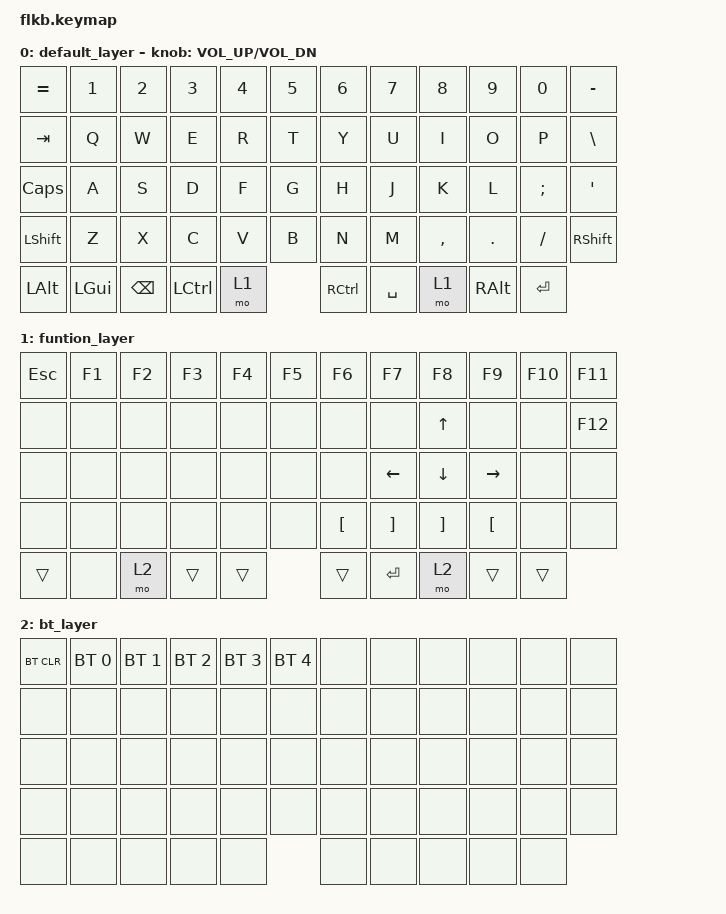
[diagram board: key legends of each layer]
/*
 * Copyright (c) 2020 The ZMK Contributors
 *
 * SPDX-License-Identifier: MIT
 */

#include <behaviors.dtsi>
#include <dt-bindings/zmk/keys.h>
#include <dt-bindings/zmk/bt.h>

/ {
    keymap {
        compatible = "zmk,keymap";

        default_layer {
            bindings = <
&kp EQUAL     &kp N1         &kp N2         &kp N3     &kp N4    &kp N5                    &kp N6     &kp N7     &kp N8     &kp N9        &kp N0         &kp MINUS
&kp TAB       &kp Q          &kp W          &kp E      &kp R     &kp T                     &kp Y      &kp U      &kp I      &kp O         &kp P          &kp BACKSLASH
&kp CAPSLOCK  &kp A          &kp S          &kp D      &kp F     &kp G                     &kp H      &kp J      &kp K      &kp L         &kp SEMICOLON  &kp SQT
&kp LSHFT     &kp Z          &kp X          &kp C      &kp V     &kp B                     &kp N      &kp M      &kp COMMA  &kp DOT       &kp FSLH       &kp RSHIFT  
&kp LALT      &kp LGUI       &kp BACKSPACE  &kp LCTRL  &mo 1                               &kp RCTRL  &kp SPACE  &mo 1      &kp RALT      &kp ENTER
            >;

            sensor-bindings = <&inc_dec_kp C_VOL_UP C_VOL_DN>;
        };

        funtion_layer {
            bindings = <
&kp ESC  &kp F1  &kp F2  &kp F3  &kp F4  &kp F5                 &kp F6    &kp F7     &kp F8               &kp F9               &kp F10  &kp F11
&none    &none   &none   &none   &none   &none                  &none     &none      &kp UP               &none                &none    &kp F12
&none    &none   &none   &none   &none   &none                  &none     &kp LEFT   &kp DOWN             &kp RIGHT            &none    &none
&none    &none   &none   &none   &none   &none                  &kp LBKT  &kp RBKT   &kp RIGHT_BRACKET    &kp LEFT_BRACKET     &none    &none
&trans   &none   &mo 2   &trans  &trans                         &trans    &kp ENTER  &mo 2     &trans     &trans
            >;
        };

        bt_layer {
            bindings = <
&bt BT_CLR  &bt BT_SEL 0  &bt BT_SEL 1  &bt BT_SEL 2  &bt BT_SEL 3  &bt BT_SEL 4                &none  &none  &none  &none  &none       &none
&none       &none         &none         &none         &none         &none                       &none  &none  &none  &none  &none       &none
&none       &none         &none         &none         &none         &none                       &none  &none  &none  &none  &none       &none
&none       &none         &none         &none         &none         &none                       &none  &none  &none  &none  &none       &none
              &none         &none         &none         &none         &none                        &none         &none         &none         &none         &none
            >;
        };
    };
};
